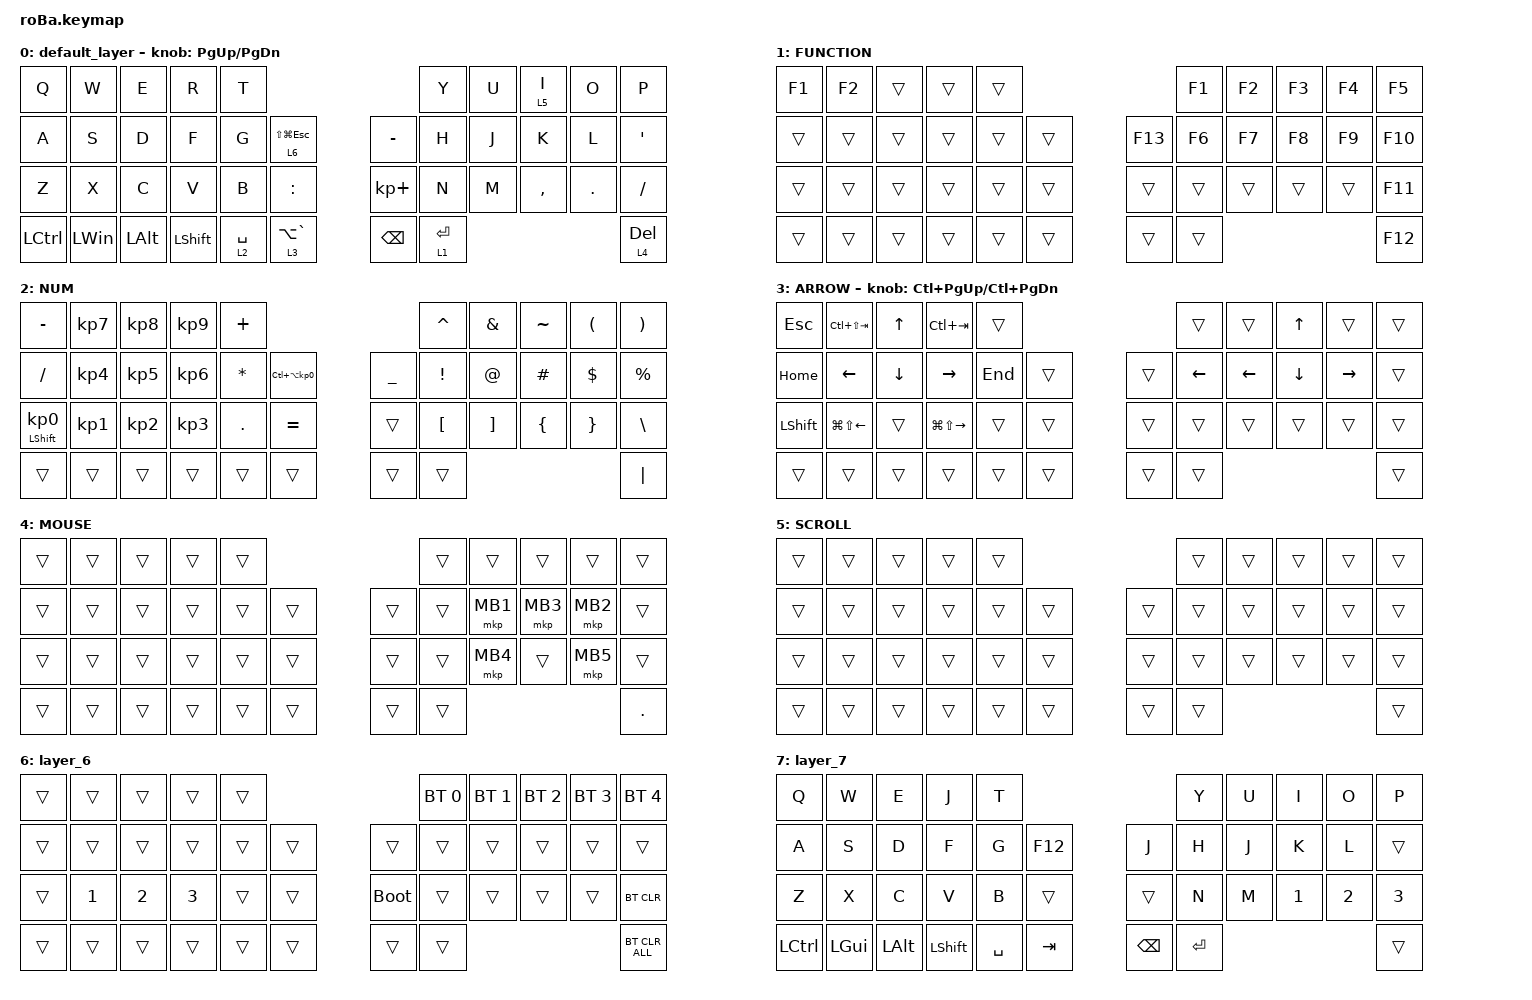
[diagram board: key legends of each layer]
#include <input/processors.dtsi>
#include <behaviors.dtsi>
#include <dt-bindings/zmk/bt.h>
#include <dt-bindings/zmk/keys.h>
#include <dt-bindings/zmk/pointing.h>

#define MOUSE 4 // 各自のマウスレイヤーに合わせて設定

&mkp_input_listener { input-processors = <&zip_temp_layer MOUSE 250>; };

&mt {
    flavor = "balanced";
    quick-tap-ms = <0>;
};

&trackball {
    /* ===== トラックボール基本設定 ===== */
    /* automouse-layer: トラックボール操作で自動切り替わるレイヤー番号 (0-7)
       値: 4 → MOUSE レイヤーに自動切り替わり */

    automouse-layer = <4>;

    /* scroll-layers: スクロール操作を有効にするレイヤー番号
       値: 5 → SCROLL レイヤーでスクロール機能が有効 */

    scroll-layers = <5>;

    /* ===== トラックボール感度設定（X軸・Y軸独立） ===== */

    input-x {
        /* X軸感度: スケール値で調整
           1000 = 100% (標準), 500 = 50%, 1500 = 150% など
           値が小さい → 感度低い（動きが遅い）
           値が大きい → 感度高い（動きが速い）
           調整: この値を変更してX軸の動きを微調整 */

        scale = <500>;
    };

    input-y {
        /* Y軸感度: スケール値で調整
           1000 = 100% (標準), 500 = 50%, 1500 = 150% など
           値が小さい → 感度低い（動きが遅い）
           値が大きい → 感度高い（動きが速い）
           調整: この値を変更してY軸の動きを微調整 */

        scale = <800>;
    };

    // arrows {
    //     layers = <3>;
    //     bindings =
    //         <&kp RIGHT_ARROW>,
    //         <&kp LEFT_ARROW>,
    //         <&kp UP_ARROW>,
    //         <&kp DOWN_ARROW>;
    //     tick = <10>;
    //     wait-ms = <5>;
    //     tap-ms = <5>;
    // };
};

/ {
    combos {
        compatible = "zmk,combos";

        tab {
            bindings = <&kp TAB>;
            key-positions = <11 12>;
        };

        shift_tab {
            bindings = <&kp LS(TAB)>;
            key-positions = <12 13>;
        };

        muhennkann {
            bindings = <&to_layer_0 INT_MUHENKAN>;
            key-positions = <11 10>;
        };

        double_quotation {
            bindings = <&kp DOUBLE_QUOTES>;
            key-positions = <20 21>;
        };

        eq {
            bindings = <&kp EQUAL>;
            key-positions = <24 25>;
        };
    };

    macros {
        to_layer_0: to_layer_0 {
            compatible = "zmk,behavior-macro-one-param";
            #binding-cells = <1>;
            bindings = <&to 0 &macro_param_1to1 &kp MACRO_PLACEHOLDER>;
            label = "TO_LAYER_0";
        };
    };

    behaviors {
        lt_to_layer_0: lt_to_layer_0 {
            compatible = "zmk,behavior-hold-tap";
            label = "LAYER_TAP_TO_0";
            bindings = <&mo>, <&to_layer_0>;

            #binding-cells = <2>;
            tapping-term-ms = <200>;
        };
    };

    keymap {
        compatible = "zmk,keymap";

        default_layer {
            bindings = <
&kp Q      &kp W         &kp E         &kp R           &kp T                                                       &kp Y        &kp U  &lt 5 I    &kp O    &kp P
&kp A      &kp S         &kp D         &kp F           &kp G        &lt 6 LS(LG(ESCAPE))            &kp MINUS      &kp H        &kp J  &kp K      &kp L    &kp SQT
&kp Z      &kp X         &kp C         &kp V           &kp B        &kp COLON                       &kp KP_PLUS    &kp N        &kp M  &kp COMMA  &kp DOT  &kp SLASH
&kp LCTRL  &kp LEFT_WIN  &kp LEFT_ALT  &kp LEFT_SHIFT  &lt 2 SPACE  &lt_to_layer_0 3 LA(GRAVE)      &kp BACKSPACE  &lt 1 ENTER                             &lt 4 DEL
            >;

            sensor-bindings = <&inc_dec_kp PG_UP PAGE_DOWN>;
        };

        FUNCTION {
            bindings = <
&kp F1  &kp F2  &trans  &trans  &trans                       &kp F1  &kp F2  &kp F3  &kp F4  &kp F5
&trans  &trans  &trans  &trans  &trans  &trans      &kp F13  &kp F6  &kp F7  &kp F8  &kp F9  &kp F10
&trans  &trans  &trans  &trans  &trans  &trans      &trans   &trans  &trans  &trans  &trans  &kp F11
&trans  &trans  &trans  &trans  &trans  &trans      &trans   &trans                          &kp F12
            >;
        };

        NUM {
            bindings = <
&kp MINUS                   &kp KP_NUMBER_7  &kp KP_NUMBER_8  &kp KP_NUMBER_9  &kp PLUS                                                   &kp CARET         &kp AMPERSAND      &kp TILDE       &kp LEFT_PARENTHESIS  &kp RIGHT_PARENTHESIS
&kp SLASH                   &kp KP_NUMBER_4  &kp KP_NUMBER_5  &kp KP_NUMBER_6  &kp ASTERISK  &kp LC(LA(KP_NUMBER_0))      &kp UNDERSCORE  &kp EXCLAMATION   &kp AT_SIGN        &kp HASH        &kp DOLLAR            &kp PERCENT
&mt LEFT_SHIFT KP_NUMBER_0  &kp KP_NUMBER_1  &kp KP_NUMBER_2  &kp KP_NUMBER_3  &kp PERIOD    &kp EQUAL                    &trans          &kp LEFT_BRACKET  &kp RIGHT_BRACKET  &kp LEFT_BRACE  &kp RIGHT_BRACE       &kp BACKSLASH
&trans                      &trans           &trans           &trans           &trans        &trans                       &trans          &trans                                                                     &kp PIPE
            >;
        };

        ARROW {
            bindings = <
&kp ESCAPE      &kp LC(LS(TAB))         &kp UP_ARROW    &kp LC(TAB)              &trans                       &trans    &trans    &kp UP    &trans     &trans
&kp HOME        &kp LEFT_ARROW          &kp DOWN_ARROW  &kp RIGHT_ARROW          &kp END  &trans      &trans  &kp LEFT  &kp LEFT  &kp DOWN  &kp RIGHT  &trans
&kp LEFT_SHIFT  &kp LG(LS(LEFT_ARROW))  &trans          &kp LG(LS(RIGHT_ARROW))  &trans   &trans      &trans  &trans    &trans    &trans    &trans     &trans
&trans          &trans                  &trans          &trans                   &trans   &trans      &trans  &trans                                   &trans
            >;

            sensor-bindings = <&inc_dec_kp LC(PAGE_UP) LC(PAGE_DOWN)>;
        };

        MOUSE {
            bindings = <
&trans  &trans  &trans  &trans  &trans                      &trans  &trans    &trans    &trans    &trans
&trans  &trans  &trans  &trans  &trans  &trans      &trans  &trans  &mkp MB1  &mkp MB3  &mkp MB2  &trans
&trans  &trans  &trans  &trans  &trans  &trans      &trans  &trans  &mkp MB4  &trans    &mkp MB5  &trans
&trans  &trans  &trans  &trans  &trans  &trans      &trans  &trans                                &kp DOT
            >;
        };

        SCROLL {
            bindings = <
&trans  &trans  &trans  &trans  &trans                      &trans  &trans  &trans  &trans  &trans
&trans  &trans  &trans  &trans  &trans  &trans      &trans  &trans  &trans  &trans  &trans  &trans
&trans  &trans  &trans  &trans  &trans  &trans      &trans  &trans  &trans  &trans  &trans  &trans
&trans  &trans  &trans  &trans  &trans  &trans      &trans  &trans                          &trans
            >;
        };

        layer_6 {
            bindings = <
&trans  &trans        &trans        &trans        &trans                           &bt BT_SEL 0  &bt BT_SEL 1  &bt BT_SEL 2  &bt BT_SEL 3  &bt BT_SEL 4
&trans  &trans        &trans        &trans        &trans  &trans      &trans       &trans        &trans        &trans        &trans        &trans
&trans  &kp NUMBER_1  &kp NUMBER_2  &kp NUMBER_3  &trans  &trans      &bootloader  &trans        &trans        &trans        &trans        &bt BT_CLR
&trans  &trans        &trans        &trans        &trans  &trans      &trans       &trans                                                  &bt BT_CLR_ALL
            >;
        };

        layer_7 {
            bindings = <
&kp Q      &kp W     &kp E     &kp J      &kp T                             &kp Y      &kp U  &kp I   &kp O   &kp P
&kp A      &kp S     &kp D     &kp F      &kp G      &kp F12      &kp J     &kp H      &kp J  &kp K   &kp L   &trans
&kp Z      &kp X     &kp C     &kp V      &kp B      &trans       &trans    &kp N      &kp M  &kp N1  &kp N2  &kp N3
&kp LCTRL  &kp LGUI  &kp LALT  &kp LSHFT  &kp SPACE  &kp TAB      &kp BSPC  &kp ENTER                         &trans
            >;
        };
    };
};
